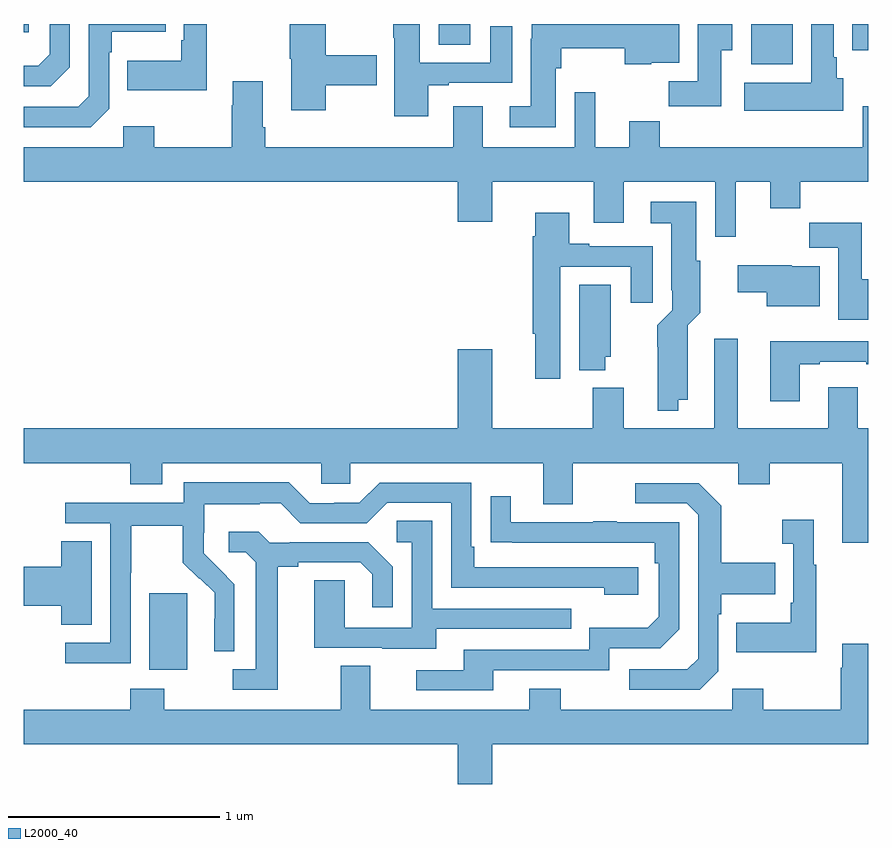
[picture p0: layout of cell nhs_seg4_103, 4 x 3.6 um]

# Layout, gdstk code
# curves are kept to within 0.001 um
import gdstk
lib = gdstk.Library(unit=1e-6, precision=1e-09)
def R(c, l, rs):  # rectangles x0, y0, x1, y1
    for r in rs: c.add(gdstk.rectangle(r[:2], r[2:], *l))
def P(c, l, *ps):  # polygons
    for p in ps: c.add(gdstk.Polygon(p, *l))
L2000_40 = (2000, 40)

nhs_seg4_103 = lib.new_cell('nhs_seg4_103')
R(nhs_seg4_103, L2000_40, [(115.595,795.842,115.774,796.203), (118.445,798.71,118.642,798.9), (118.925,798.776,119,798.9), (116.966,798.802,117.115,798.9), (115,798.86,115.024,798.9)])
P(nhs_seg4_103, L2000_40, [(115.404,798.498),(115.404,798.767),(115.417,798.767),(115.417,798.863),(115.673,798.863),(115.673,798.9),(115.308,798.9),(115.308,798.558),(115.257,798.507),(115,798.507),(115,798.411),(115.317,798.411)],
  [(115.867,798.9),(115.758,798.9),(115.758,798.823),(115.746,798.823),(115.746,798.727),(115.489,798.727),(115.489,798.587),(115.867,798.587)],
  [(117.52,798.69),(117.546,798.69),(117.546,798.785),(117.847,798.785),(117.847,798.71),(117.972,798.71),(117.972,798.716),(118.105,798.716),(118.105,798.9),(117.405,798.9),(117.405,798.83),(117.401,798.83),(117.401,798.511),(117.303,798.511),(117.303,798.41),(117.52,798.41)],
  [(116.43,798.61),(116.671,798.61),(116.671,798.752),(116.43,798.752),(116.43,798.9),(116.26,798.9),(116.26,798.735),(116.267,798.735),(116.267,798.492),(116.43,798.492)],
  [(118.882,798.642),(118.852,798.642),(118.852,798.742),(118.837,798.742),(118.837,798.9),(118.73,798.9),(118.73,798.622),(118.413,798.622),(118.413,798.488),(118.882,798.488)],
  [(116.917,798.609),(117.013,798.609),(117.013,798.621),(117.313,798.621),(117.313,798.889),(117.209,798.889),(117.209,798.717),(116.875,798.717),(116.875,798.9),(116.749,798.9),(116.749,798.835),(116.756,798.835),(116.756,798.462),(116.917,798.462)],
  [(115.218,798.696),(115.218,798.9),(115.122,798.9),(115.122,798.756),(115.069,798.703),(115,798.703),(115,798.606),(115.128,798.606)],
  [(118.303,798.776),(118.357,798.776),(118.357,798.9),(118.193,798.9),(118.193,798.628),(118.054,798.628),(118.054,798.51),(118.303,798.51)],
  [(118.372,798.152),(118.535,798.152),(118.535,798.028),(118.679,798.028),(118.679,798.152),(119,798.152),(119,798.511),(118.973,798.511),(118.973,798.316),(118.013,798.316),(118.013,798.44),(117.869,798.44),(117.869,798.316),(117.706,798.316),(117.706,798.577),(117.609,798.577),(117.609,798.316),(117.175,798.316),(117.175,798.511),(117.035,798.511),(117.035,798.316),(116.144,798.316),(116.144,798.412),(116.131,798.412),(116.131,798.628),(115.991,798.628),(115.991,798.515),(115.984,798.515),(115.984,798.316),(115.617,798.316),(115.617,798.415),(115.47,798.415),(115.47,798.316),(115,798.316),(115,798.152),(117.056,798.152),(117.056,797.964),(117.22,797.964),(117.22,798.152),(117.701,798.152),(117.701,797.958),(117.841,797.958),(117.841,798.152),(118.275,798.152),(118.275,797.892),(118.372,797.892)],
  [(118.099,797.12),(118.144,797.12),(118.145,797.474),(118.204,797.533),(118.204,797.778),(118.186,797.778),(118.186,798.058),(117.969,798.058),(117.969,797.957),(118.067,797.957),(118.067,797.638),(118.071,797.638),(118.071,797.544),(118.001,797.474),(118.002,797.069),(118.099,797.069)],
  [(117.541,797.751),(117.875,797.751),(117.875,797.58),(117.979,797.58),(117.979,797.847),(117.679,797.847),(117.679,797.86),(117.583,797.86),(117.583,798.007),(117.422,798.007),(117.422,797.894),(117.41,797.894),(117.41,797.432),(117.422,797.432),(117.422,797.22),(117.541,797.22)],
  [(119,797.692),(118.969,797.692),(118.969,797.959),(118.72,797.959),(118.72,797.84),(118.859,797.84),(118.859,797.499),(119,797.499)],
  [(118.771,797.752),(118.638,797.752),(118.638,797.758),(118.383,797.758),(118.383,797.63),(118.52,797.63),(118.52,797.564),(118.771,797.564)],
  [(117.754,797.325),(117.781,797.325),(117.781,797.666),(117.632,797.666),(117.632,797.261),(117.754,797.261)],
  [(119,796.984),(118.951,796.984),(118.951,797.179),(118.811,797.179),(118.811,796.984),(118.381,796.984),(118.381,797.41),(118.271,797.41),(118.271,796.984),(117.841,796.984),(117.841,797.176),(117.694,797.176),(117.694,796.984),(117.22,796.984),(117.22,797.359),(117.056,797.359),(117.056,796.984),(115,796.984),(115,796.82),(115.505,796.82),(115.505,796.721),(115.657,796.721),(115.657,796.82),(116.409,796.82),(116.409,796.722),(116.547,796.722),(116.547,796.82),(117.461,796.82),(117.461,796.626),(117.601,796.626),(117.601,796.82),(118.385,796.82),(118.385,796.721),(118.533,796.721),(118.533,796.82),(118.877,796.82),(118.877,796.443),(119,796.443)],
  [(118.675,797.289),(118.771,797.289),(118.771,797.301),(118.991,797.301),(118.991,797.289),(119,797.289),(119,797.397),(118.763,797.397),(118.763,797.398),(118.535,797.398),(118.535,797.112),(118.675,797.112)],
  [(115.506,796.3),(115.509,796.3),(115.509,796.524),(115.753,796.524),(115.753,796.349),(115.83,796.272),(115.833,796.275),(115.904,796.205),(115.904,796.082),(115.902,796.082),(115.902,795.928),(115.998,795.928),(115.998,796.246),(115.852,796.394),(115.852,796.491),(115.854,796.491),(115.854,796.625),(116.117,796.625),(116.117,796.629),(116.217,796.629),(116.31,796.536),(116.625,796.536),(116.721,796.632),(117.024,796.632),(117.024,796.23),(117.749,796.23),(117.749,796.196),(117.91,796.196),(117.91,796.326),(117.133,796.326),(117.133,796.423),(117.12,796.423),(117.12,796.728),(116.685,796.728),(116.589,796.632),(116.471,796.632),(116.471,796.629),(116.355,796.629),(116.255,796.729),(115.758,796.729),(115.758,796.632),(115.197,796.632),(115.197,796.536),(115.41,796.536),(115.41,795.969),(115.197,795.969),(115.197,795.871),(115.506,795.871)],
  [(118.29,795.834),(118.29,796.103),(118.303,796.103),(118.303,796.199),(118.559,796.199),(118.559,796.347),(118.303,796.347),(118.303,796.619),(118.197,796.725),(117.897,796.725),(117.897,796.629),(118.14,796.629),(118.194,796.575),(118.194,795.894),(118.143,795.843),(117.867,795.843),(117.867,795.747),(118.203,795.747)],
  [(117.223,795.84),(117.774,795.84),(117.774,795.942),(118.014,795.942),(118.104,796.032),(118.104,796.539),(117.809,796.539),(117.809,796.544),(117.697,796.544),(117.697,796.539),(117.307,796.539),(117.307,796.663),(117.211,796.663),(117.211,796.444),(117.988,796.443),(117.988,796.346),(118.008,796.346),(118.008,796.092),(117.955,796.039),(117.678,796.039),(117.678,795.936),(117.083,795.936),(117.083,795.84),(116.859,795.84),(116.859,795.744),(117.223,795.744)],
  [(118.753,796.339),(118.741,796.339),(118.741,796.552),(118.593,796.552),(118.593,796.439),(118.644,796.439),(118.644,796.159),(118.632,796.159),(118.632,796.063),(118.375,796.063),(118.375,795.923),(118.753,795.923)],
  [(116.953,796.035),(117.593,796.035),(117.593,796.131),(116.934,796.131),(116.934,796.547),(116.766,796.547),(116.766,796.446),(116.838,796.446),(116.838,796.041),(116.52,796.041),(116.52,796.265),(116.375,796.265),(116.375,795.945),(116.699,795.945),(116.699,795.941),(116.953,795.941)],
  [(116.203,796.328),(116.299,796.328),(116.299,796.35),(116.594,796.35),(116.651,796.293),(116.651,796.137),(116.748,796.137),(116.748,796.33),(116.632,796.446),(116.26,796.446),(116.26,796.443),(116.166,796.443),(116.114,796.495),(115.971,796.495),(115.971,796.398),(116.052,796.398),(116.099,796.351),(116.099,795.843),(115.989,795.843),(115.989,795.747),(116.203,795.747)],
  [(115.321,796.451),(115.178,796.451),(115.178,796.328),(115,796.328),(115,796.145),(115.178,796.145),(115.178,796.054),(115.321,796.054)],
  [(117.22,795.488),(119,795.488),(119,795.964),(118.877,795.964),(118.877,795.851),(118.87,795.851),(118.87,795.652),(118.503,795.652),(118.503,795.751),(118.356,795.751),(118.356,795.652),(117.543,795.652),(117.543,795.751),(117.395,795.751),(117.395,795.652),(116.641,795.652),(116.641,795.86),(116.501,795.86),(116.501,795.652),(115.665,795.652),(115.665,795.751),(115.505,795.751),(115.505,795.652),(115,795.652),(115,795.488),(117.056,795.488),(117.056,795.3),(117.22,795.3)])

lib.write_gds('nhs_seg4_103.gds')
